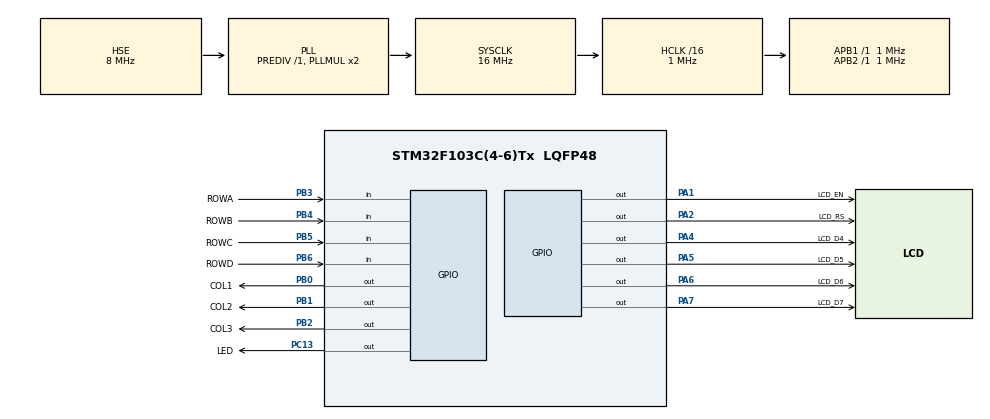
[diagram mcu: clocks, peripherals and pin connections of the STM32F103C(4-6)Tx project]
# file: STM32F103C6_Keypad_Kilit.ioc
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Mcu.Family=STM32F1
Mcu.Name=STM32F103C(4-6)Tx
Mcu.Package=LQFP48
NVIC.PriorityGroup=NVIC_PRIORITYGROUP_4
PA1.GPIO_Label=LCD_EN
PA1.Signal=GPIO_Output
PA2.GPIO_Label=LCD_RS
PA2.Signal=GPIO_Output
PA4.GPIO_Label=LCD_D4
PA4.Signal=GPIO_Output
PA5.GPIO_Label=LCD_D5
PA5.Signal=GPIO_Output
PA6.GPIO_Label=LCD_D6
PA6.Signal=GPIO_Output
PA7.GPIO_Label=LCD_D7
PA7.Signal=GPIO_Output
PB0.GPIO_Label=COL1
PB0.Signal=GPIO_Output
PB1.GPIO_Label=COL2
PB1.Signal=GPIO_Output
PB2.GPIO_Label=COL3
PB2.Signal=GPIO_Output
PB3.GPIO_Label=ROWA
PB3.GPIO_PuPd=GPIO_NOPULL
PB3.Signal=GPIO_Input
PB4.GPIO_Label=ROWB
PB4.GPIO_PuPd=GPIO_NOPULL
PB4.Signal=GPIO_Input
PB5.GPIO_Label=ROWC
PB5.GPIO_PuPd=GPIO_NOPULL
PB5.Signal=GPIO_Input
PB6.GPIO_Label=ROWD
PB6.GPIO_PuPd=GPIO_NOPULL
PB6.Signal=GPIO_Input
PC13-TAMPER-RTC.GPIO_Label=LED
PC13-TAMPER-RTC.Signal=GPIO_Output
PD0-OSC_IN.Mode=HSE-External-Oscillator
PD0-OSC_IN.Signal=RCC_OSC_IN
PD1-OSC_OUT.Mode=HSE-External-Oscillator
PD1-OSC_OUT.Signal=RCC_OSC_OUT
ProjectManager.HeapSize=0x200
ProjectManager.StackSize=0x400
ProjectManager.TargetToolchain=STM32CubeIDE
RCC.AHBCLKDivider=RCC_SYSCLK_DIV16
RCC.AHBFreq_Value=1000000
RCC.APB1Freq_Value=1000000
RCC.APB1TimFreq_Value=1000000
RCC.APB2Freq_Value=1000000
RCC.APB2TimFreq_Value=1000000
RCC.HCLKFreq_Value=1000000
RCC.PLLSourceVirtual=RCC_PLLSOURCE_HSE
RCC.SYSCLKFreq_VALUE=16000000
RCC.SYSCLKSource=RCC_SYSCLKSOURCE_PLLCLK
RCC.USBFreq_Value=16000000
VP_SYS_VS_ND.Mode=No_Debug
board=custom

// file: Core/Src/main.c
/* USER CODE BEGIN Header */
/**
  ******************************************************************************
  * @file           : main.c
  * @brief          : Main program body
  ******************************************************************************
  * @attention
  *
  * Copyright (c) 2023 STMicroelectronics.
  * All rights reserved.
  *
  * This software is licensed under terms that can be found in the LICENSE file
  * in the root directory of this software component.
  * If no LICENSE file comes with this software, it is provided AS-IS.
  *
  ******************************************************************************
  */
/* USER CODE END Header */
#include "main.h"

/* USER CODE BEGIN Includes */
#include "LCD.h"

/* USER CODE END Includes */

/* USER CODE BEGIN PD */
void keypad_tara();
void ekran_guncelle();
void ekran_resetle();
/* USER CODE END PD */

/* USER CODE BEGIN PV */
uint8_t mevcut_rakam = 0;
uint16_t p_sayi = 0;
const uint16_t SIFRE = 1234;
uint16_t girilen_sifre[4] = {0};
uint16_t sifre = 0;
/* USER CODE END PV */

void SystemClock_Config(void);
static void MX_GPIO_Init(void);

int main(void)
{

  /* MCU Configuration--------------------------------------------------------*/

  /* Reset of all peripherals, Initializes the Flash interface and the Systick. */
  HAL_Init();

  /* Configure the system clock */
  SystemClock_Config();

  /* Initialize all configured peripherals */
  MX_GPIO_Init();
  /* USER CODE BEGIN 2 */
  lcd_init(_LCD_4BIT, _LCD_FONT_5x8, _LCD_2LINE); // lcdyi başlat ve ekrana şifre girmek için gereken menüyü yazdır.
  lcd_clear();
  lcd_print(1, 1, "SIFRE GIRINIZ:");
  lcd_print(2, 1, "0000");

  /* USER CODE END 2 */

  /* Infinite loop */
  while (1)
  {

    /* USER CODE BEGIN 3 */
	  keypad_tara(); // keypad tarama fonksiyonunu çağır ----> tüm işlemler bu fonksiyonun içinde yapılıyor.
	  HAL_Delay(100); // karışıklık olmaması için 100ms bekle.

  }
  /* USER CODE END 3 */
}

void keypad_tara(){
	/*1. Sütun Tarama*/
	HAL_GPIO_WritePin(COL1_GPIO_Port, COL1_Pin, GPIO_PIN_SET);
	HAL_GPIO_WritePin(COL2_GPIO_Port, COL2_Pin, GPIO_PIN_RESET);
	HAL_GPIO_WritePin(COL3_GPIO_Port, COL3_Pin, GPIO_PIN_RESET);

	if(HAL_GPIO_ReadPin(ROWA_GPIO_Port, ROWA_Pin)){ //eğer a sütunu 1 ise
		mevcut_rakam = 1;							// basılan tuş 1dir
		ekran_guncelle();							// ekran güncelle fonksiyonunu çağır.
		while(HAL_GPIO_ReadPin(ROWA_GPIO_Port, ROWA_Pin)); // hala 1e tuşuna basılı ise bırakılana kadar bekle. tuş bırakıldığında programa devam et.

	}else if(HAL_GPIO_ReadPin(ROWB_GPIO_Port, ROWB_Pin)){  // diğer tüm tuşlar için aynı işlem geçerli.
		mevcut_rakam = 4;
		ekran_guncelle();
		while(HAL_GPIO_ReadPin(ROWB_GPIO_Port, ROWB_Pin));

	}else if(HAL_GPIO_ReadPin(ROWC_GPIO_Port, ROWC_Pin)){
		mevcut_rakam = 7;
		ekran_guncelle();
		while(HAL_GPIO_ReadPin(ROWC_GPIO_Port, ROWC_Pin));

	}else if(HAL_GPIO_ReadPin(ROWD_GPIO_Port, ROWD_Pin)){
		//mevcut_rakam = 10; // * tuşuna bir işlem atanmadığı için boş bırakıldı.
		//ekran_guncelle();
		//while(HAL_GPIO_ReadPin(ROWD_GPIO_Port, ROWD_Pin));

	}

	/*2. Sütun Tarama*/
	HAL_GPIO_WritePin(COL1_GPIO_Port, COL1_Pin, GPIO_PIN_RESET);
	HAL_GPIO_WritePin(COL2_GPIO_Port, COL2_Pin, GPIO_PIN_SET);
	HAL_GPIO_WritePin(COL3_GPIO_Port, COL3_Pin, GPIO_PIN_RESET);

	if(HAL_GPIO_ReadPin(ROWA_GPIO_Port, ROWA_Pin)){
		mevcut_rakam = 2;
		ekran_guncelle();
		while(HAL_GPIO_ReadPin(ROWA_GPIO_Port, ROWA_Pin));

	}else if(HAL_GPIO_ReadPin(ROWB_GPIO_Port, ROWB_Pin)){
		mevcut_rakam = 5;
		ekran_guncelle();
		while(HAL_GPIO_ReadPin(ROWB_GPIO_Port, ROWB_Pin));

	}else if(HAL_GPIO_ReadPin(ROWC_GPIO_Port, ROWC_Pin)){
		mevcut_rakam = 8;
		ekran_guncelle();
		while(HAL_GPIO_ReadPin(ROWC_GPIO_Port, ROWC_Pin));

	}else if(HAL_GPIO_ReadPin(ROWD_GPIO_Port, ROWD_Pin)){
		mevcut_rakam = 0;
		ekran_guncelle();
		while(HAL_GPIO_ReadPin(ROWD_GPIO_Port, ROWD_Pin));

	}

	/*3. Sütun Tarama*/
	HAL_GPIO_WritePin(COL1_GPIO_Port, COL1_Pin, GPIO_PIN_RESET);
	HAL_GPIO_WritePin(COL2_GPIO_Port, COL2_Pin, GPIO_PIN_RESET);
	HAL_GPIO_WritePin(COL3_GPIO_Port, COL3_Pin, GPIO_PIN_SET);

	if(HAL_GPIO_ReadPin(ROWA_GPIO_Port, ROWA_Pin)){
		mevcut_rakam = 3;
		ekran_guncelle();
		while(HAL_GPIO_ReadPin(ROWA_GPIO_Port, ROWA_Pin));

	}else if(HAL_GPIO_ReadPin(ROWB_GPIO_Port, ROWB_Pin)){
		mevcut_rakam = 6;
		ekran_guncelle();
		while(HAL_GPIO_ReadPin(ROWB_GPIO_Port, ROWB_Pin));

	}else if(HAL_GPIO_ReadPin(ROWC_GPIO_Port, ROWC_Pin)){
		mevcut_rakam = 9;
		ekran_guncelle();
		while(HAL_GPIO_ReadPin(ROWC_GPIO_Port, ROWC_Pin));

	}else if(HAL_GPIO_ReadPin(ROWD_GPIO_Port, ROWD_Pin)){
		//mevcut_rakam = 11; // # tuşu
		ekran_resetle();     // diğer tuşlardan farklı olarak bu tuşa basılırsa mevcut girilmiş şifre resetleniyor ve baştan şifre girilmesi sağlanıyor
		while(HAL_GPIO_ReadPin(ROWD_GPIO_Port, ROWD_Pin));

	}

}

void ekran_guncelle(){

	/*girilen_sifre dizisi 4 elemanlı, bastığımız her tuşu bir indeksinde tutan bir dizidir*/

	girilen_sifre[p_sayi] = mevcut_rakam; // basılan tuşu dizinin sıradaki indeksine atıyoruz

	lcd_clear();  // her bir yeni tuşa basıldığında ekranı temizlememiz gerekiyor
	char ekran[16]; // ekrana birden fazla rakam yazacağımz için ekran adında bir karakter dizisi oluşturduk
	sprintf(ekran, "%d%d%d%d", girilen_sifre[0], girilen_sifre[1], girilen_sifre[2], girilen_sifre[3]); // bu karakter dizisine, her bir basılan tuşun değeri yazılır
	lcd_print(1, 1, "SIFRE GIRINIZ:");
	lcd_print(2, 1, ekran); // karakter dizisi ekranın alt satırına yazdırılır
	p_sayi++; // bir sonraki gelecek karakter için p_sayi değişkeni bir arttırılır.

	if(p_sayi >= 4){ // eğer p_sayi değişkeni 4 olmuş ise 4 basamaklı sayı girilmiş demektir.
		/* alt satırda, aldığımız her bir rakamı, basamak değerleriyle çarpıp, birbirleriyle toplayarak asıl girilen sayıyı hesaplıyoruz*/
		sifre = girilen_sifre[0]*1000 + girilen_sifre[1]*100 + girilen_sifre[2]*10 + girilen_sifre[3]*1;

		if (sifre == SIFRE){ // eğer hesapladığımız sayı belirli olan şifremize eşit ise girilen şfire doğru demektir
			HAL_Delay(500);  // 500ms bekliyoruz ki kullanıcı şifreyi girdiğini görebilsin
			HAL_GPIO_WritePin(LED_GPIO_Port, LED_Pin, GPIO_PIN_SET); // şifre doğru olduğu için led yanıyor
			lcd_clear();    // ekranda hoş geldiniz yazısı gösteriliyor.
			lcd_print(1, 1, "      HOS");
			lcd_print(2, 1, "    GELDINIZ");
			HAL_Delay(2000); // 2 sn bekleniyor
			HAL_GPIO_WritePin(LED_GPIO_Port, LED_Pin, GPIO_PIN_RESET); // 2sn sonunda led söndürülüyor ve ekra yeni şifre giilmesi için başlangıç haline döndürülüyor.
			lcd_clear();
			lcd_print(1, 1, "SIFRE GIRINIZ:");
			lcd_print(2, 1, "0000");
		}else{				// eğer girilen şifre yanlış ise ekranda şifre yanlış yazısı çıkıyor ve 2sn sonra başlangıç ekranına geri dönülüyor.
			lcd_clear();
			lcd_print(1, 1, "    SIFRE");
			lcd_print(2, 1, "    YANLIS");
			HAL_Delay(2000);
			lcd_clear();
			lcd_print(1, 1, "SIFRE GIRINIZ:");
			lcd_print(2, 1, "0000");
		}

		/* şifre doğru ya da yanlış olsun, arka arkaya 4 tuşa basıldıktan sonra, hesaplamanın doğru yapılabilmesi için tüm değişkenler sıfırlanıyor.*/
		p_sayi = 0;
		sifre = 0;
		girilen_sifre[0] = 0;
		girilen_sifre[1] = 0;
		girilen_sifre[2] = 0;
		girilen_sifre[3] = 0;
	}

}

void ekran_resetle(){
	/* tüm değişkenler sıfırlanıyor ve ekran başlangıç haline döndürülüyor.*/
	lcd_clear();
	lcd_print(1, 1, "SIFRE GIRINIZ:");
	lcd_print(2, 1, "0000");
	p_sayi = 0;
	sifre = 0;
	girilen_sifre[0] = 0;
	girilen_sifre[1] = 0;
	girilen_sifre[2] = 0;
	girilen_sifre[3] = 0;
}

void SystemClock_Config(void)
{
  RCC_OscInitTypeDef RCC_OscInitStruct = {0};
  RCC_ClkInitTypeDef RCC_ClkInitStruct = {0};

  /** Initializes the RCC Oscillators according to the specified parameters
  * in the RCC_OscInitTypeDef structure.
  */
  RCC_OscInitStruct.OscillatorType = RCC_OSCILLATORTYPE_HSE;
  RCC_OscInitStruct.HSEState = RCC_HSE_ON;
  RCC_OscInitStruct.HSEPredivValue = RCC_HSE_PREDIV_DIV1;
  RCC_OscInitStruct.HSIState = RCC_HSI_ON;
  RCC_OscInitStruct.PLL.PLLState = RCC_PLL_ON;
  RCC_OscInitStruct.PLL.PLLSource = RCC_PLLSOURCE_HSE;
  RCC_OscInitStruct.PLL.PLLMUL = RCC_PLL_MUL2;
  if (HAL_RCC_OscConfig(&RCC_OscInitStruct) != HAL_OK)
  {
    Error_Handler();
  }

  /** Initializes the CPU, AHB and APB buses clocks
  */
  RCC_ClkInitStruct.ClockType = RCC_CLOCKTYPE_HCLK|RCC_CLOCKTYPE_SYSCLK
                              |RCC_CLOCKTYPE_PCLK1|RCC_CLOCKTYPE_PCLK2;
  RCC_ClkInitStruct.SYSCLKSource = RCC_SYSCLKSOURCE_PLLCLK;
  RCC_ClkInitStruct.AHBCLKDivider = RCC_SYSCLK_DIV16;
  RCC_ClkInitStruct.APB1CLKDivider = RCC_HCLK_DIV1;
  RCC_ClkInitStruct.APB2CLKDivider = RCC_HCLK_DIV1;

  if (HAL_RCC_ClockConfig(&RCC_ClkInitStruct, FLASH_LATENCY_0) != HAL_OK)
  {
    Error_Handler();
  }
}

static void MX_GPIO_Init(void)
{
  GPIO_InitTypeDef GPIO_InitStruct = {0};

  /* GPIO Ports Clock Enable */
  __HAL_RCC_GPIOC_CLK_ENABLE();
  __HAL_RCC_GPIOD_CLK_ENABLE();
  __HAL_RCC_GPIOA_CLK_ENABLE();
  __HAL_RCC_GPIOB_CLK_ENABLE();

  /*Configure GPIO pin Output Level */
  HAL_GPIO_WritePin(LED_GPIO_Port, LED_Pin, GPIO_PIN_RESET);

  /*Configure GPIO pin Output Level */
  HAL_GPIO_WritePin(GPIOA, LCD_EN_Pin|LCD_RS_Pin|LCD_D4_Pin|LCD_D5_Pin
                          |LCD_D6_Pin|LCD_D7_Pin, GPIO_PIN_RESET);

  /*Configure GPIO pin Output Level */
  HAL_GPIO_WritePin(GPIOB, COL1_Pin|COL2_Pin|COL3_Pin, GPIO_PIN_RESET);

  /*Configure GPIO pin : LED_Pin */
  GPIO_InitStruct.Pin = LED_Pin;
  GPIO_InitStruct.Mode = GPIO_MODE_OUTPUT_PP;
  GPIO_InitStruct.Pull = GPIO_NOPULL;
  GPIO_InitStruct.Speed = GPIO_SPEED_FREQ_LOW;
  HAL_GPIO_Init(LED_GPIO_Port, &GPIO_InitStruct);

  /*Configure GPIO pins : LCD_EN_Pin LCD_RS_Pin LCD_D4_Pin LCD_D5_Pin
                           LCD_D6_Pin LCD_D7_Pin */
  GPIO_InitStruct.Pin = LCD_EN_Pin|LCD_RS_Pin|LCD_D4_Pin|LCD_D5_Pin
                          |LCD_D6_Pin|LCD_D7_Pin;
  GPIO_InitStruct.Mode = GPIO_MODE_OUTPUT_PP;
  GPIO_InitStruct.Pull = GPIO_NOPULL;
  GPIO_InitStruct.Speed = GPIO_SPEED_FREQ_LOW;
  HAL_GPIO_Init(GPIOA, &GPIO_InitStruct);

  /*Configure GPIO pins : COL1_Pin COL2_Pin COL3_Pin */
  GPIO_InitStruct.Pin = COL1_Pin|COL2_Pin|COL3_Pin;
  GPIO_InitStruct.Mode = GPIO_MODE_OUTPUT_PP;
  GPIO_InitStruct.Pull = GPIO_NOPULL;
  GPIO_InitStruct.Speed = GPIO_SPEED_FREQ_LOW;
  HAL_GPIO_Init(GPIOB, &GPIO_InitStruct);

  /*Configure GPIO pins : ROWA_Pin ROWB_Pin ROWC_Pin ROWD_Pin */
  GPIO_InitStruct.Pin = ROWA_Pin|ROWB_Pin|ROWC_Pin|ROWD_Pin;
  GPIO_InitStruct.Mode = GPIO_MODE_INPUT;
  GPIO_InitStruct.Pull = GPIO_NOPULL;
  HAL_GPIO_Init(GPIOB, &GPIO_InitStruct);

}

void Error_Handler(void)
{
  __disable_irq();
  while (1)
  {
  }
}
